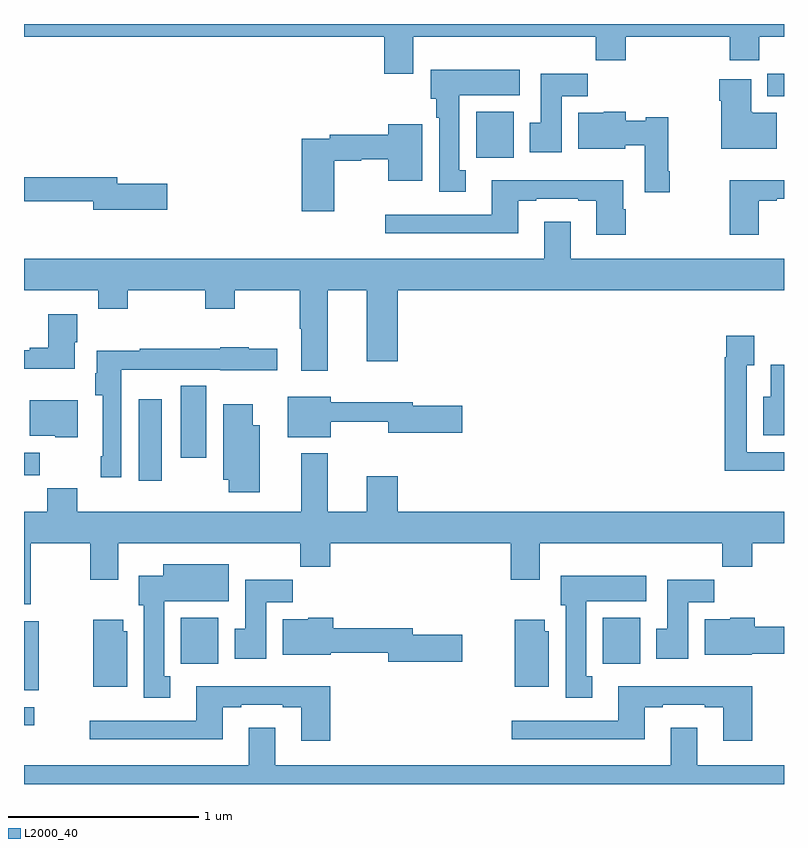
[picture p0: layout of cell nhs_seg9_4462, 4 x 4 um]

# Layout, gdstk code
import gdstk
lib = gdstk.Library(unit=1e-6, precision=1e-09)
def R(c, l, rs):  # rectangles x0, y0, x1, y1
    for r in rs: c.add(gdstk.rectangle(r[:2], r[2:], *l))
def P(c, l, *ps):  # polygons
    for p in ps: c.add(gdstk.Polygon(p, *l))
L2000_40 = (2000, 40)

nhs_seg9_4462 = lib.new_cell('nhs_seg9_4462')
R(nhs_seg9_4462, L2000_40, [(367,1180.809,367.054,1180.905), (367,1180.994,367.078,1181.356), (367.826,1181.132,368.023,1181.374), (370.046,1181.132,370.243,1181.374), (367.604,1182.096,367.726,1182.526), (367,1182.126,367.082,1182.244), (367.826,1182.216,367.96,1182.596), (369.38,1183.796,369.577,1184.038), (370.913,1184.12,371,1184.238)])
P(nhs_seg9_4462, L2000_40, [(369.049,1184.432),(370.009,1184.432),(370.009,1184.308),(370.166,1184.308),(370.166,1184.432),(370.715,1184.432),(370.715,1184.308),(370.871,1184.308),(370.871,1184.432),(371,1184.432),(371,1184.5),(367,1184.5),(367,1184.432),(368.897,1184.432),(368.897,1184.238),(369.049,1184.238)],
  [(369.325,1183.73),(369.292,1183.73),(369.292,1184.126),(369.61,1184.126),(369.61,1184.26),(369.14,1184.26),(369.14,1184.106),(369.17,1184.106),(369.17,1184.006),(369.185,1184.006),(369.185,1183.617),(369.325,1183.617)],
  [(369.829,1184.12),(369.968,1184.12),(369.968,1184.239),(369.719,1184.239),(369.719,1183.98),(369.662,1183.98),(369.662,1183.824),(369.829,1183.824)],
  [(370.963,1184.032),(370.834,1184.032),(370.834,1184.038),(370.828,1184.038),(370.828,1184.209),(370.658,1184.209),(370.658,1184.096),(370.67,1184.096),(370.67,1183.844),(370.963,1183.844)],
  [(370.398,1183.726),(370.39,1183.726),(370.39,1184.01),(370.272,1184.01),(370.272,1183.992),(370.168,1183.992),(370.168,1184.038),(370.05,1184.038),(370.05,1184.032),(369.917,1184.032),(369.917,1183.844),(370.164,1183.844),(370.164,1183.862),(370.268,1183.862),(370.268,1183.614),(370.398,1183.614)],
  [(368.632,1183.78),(368.775,1183.78),(368.775,1183.788),(368.918,1183.788),(368.918,1183.676),(369.097,1183.676),(369.097,1183.972),(368.918,1183.972),(368.918,1183.916),(368.608,1183.916),(368.608,1183.896),(368.462,1183.896),(368.462,1183.515),(368.632,1183.515)],
  [(367.753,1183.658),(367.492,1183.658),(367.492,1183.694),(367,1183.694),(367,1183.566),(367.364,1183.566),(367.364,1183.523),(367.753,1183.523)],
  [(370.867,1183.569),(370.963,1183.569),(370.963,1183.581),(371,1183.581),(371,1183.678),(370.715,1183.678),(370.715,1183.392),(370.867,1183.392)],
  [(370.166,1183.526),(370.153,1183.526),(370.153,1183.678),(369.461,1183.678),(369.461,1183.497),(368.901,1183.497),(368.901,1183.4),(369.601,1183.4),(369.601,1183.569),(369.697,1183.569),(369.697,1183.581),(369.917,1183.581),(369.917,1183.569),(370.013,1183.569),(370.013,1183.392),(370.166,1183.392)],
  [(368.599,1183.1),(368.804,1183.1),(368.804,1182.726),(368.968,1182.726),(368.968,1183.1),(371,1183.1),(371,1183.264),(369.877,1183.264),(369.877,1183.459),(369.737,1183.459),(369.737,1183.264),(367,1183.264),(367,1183.1),(367.39,1183.1),(367.39,1183.001),(367.545,1183.001),(367.545,1183.1),(367.954,1183.1),(367.954,1183.001),(368.109,1183.001),(368.109,1183.1),(368.452,1183.1),(368.452,1182.896),(368.459,1182.896),(368.459,1182.675),(368.599,1182.675)],
  [(367.267,1182.825),(367.28,1182.825),(367.28,1182.973),(367.127,1182.973),(367.127,1182.796),(367.031,1182.796),(367.031,1182.783),(367,1182.783),(367,1182.686),(367.267,1182.686)],
  [(370.979,1182.15),(371,1182.15),(371,1182.246),(370.803,1182.246),(370.803,1182.703),(370.843,1182.703),(370.843,1182.859),(370.695,1182.859),(370.695,1182.746),(370.687,1182.746),(370.687,1182.149),(370.979,1182.149)],
  [(367.512,1182.68),(367.722,1182.68),(367.722,1182.681),(368.034,1182.681),(368.034,1182.677),(368.332,1182.677),(368.332,1182.79),(368.184,1182.79),(368.184,1182.799),(368.034,1182.799),(368.034,1182.79),(367.609,1182.79),(367.609,1182.78),(367.382,1182.78),(367.382,1182.662),(367.375,1182.662),(367.375,1182.545),(367.415,1182.545),(367.415,1182.226),(367.404,1182.226),(367.404,1182.114),(367.512,1182.114)],
  [(371,1182.706),(370.931,1182.706),(370.931,1182.538),(370.892,1182.538),(370.892,1182.335),(371,1182.335)],
  [(368.614,1182.406),(368.918,1182.406),(368.918,1182.349),(369.307,1182.349),(369.307,1182.491),(369.046,1182.491),(369.046,1182.509),(368.614,1182.509),(368.614,1182.538),(368.387,1182.538),(368.387,1182.326),(368.614,1182.326)],
  [(367.282,1182.52),(367.031,1182.52),(367.031,1182.332),(367.164,1182.332),(367.164,1182.326),(367.282,1182.326)],
  [(368.242,1182.388),(368.203,1182.388),(368.203,1182.499),(368.048,1182.499),(368.048,1182.101),(368.077,1182.101),(368.077,1182.036),(368.242,1182.036)],
  [(367.036,1181.768),(367.348,1181.768),(367.348,1181.574),(367.495,1181.574),(367.495,1181.768),(368.455,1181.768),(368.455,1181.644),(368.612,1181.644),(368.612,1181.768),(369.563,1181.768),(369.563,1181.574),(369.715,1181.574),(369.715,1181.768),(370.675,1181.768),(370.675,1181.644),(370.832,1181.644),(370.832,1181.768),(371,1181.768),(371,1181.932),(368.968,1181.932),(368.968,1182.121),(368.804,1182.121),(368.804,1181.932),(368.599,1181.932),(368.599,1182.241),(368.459,1182.241),(368.459,1181.932),(367.28,1181.932),(367.28,1182.056),(367.123,1182.056),(367.123,1181.932),(367,1181.932),(367,1181.445),(367.036,1181.445)],
  [(367.771,1181.066),(367.738,1181.066),(367.738,1181.462),(368.077,1181.462),(368.077,1181.656),(367.733,1181.656),(367.733,1181.596),(367.604,1181.596),(367.604,1181.442),(367.631,1181.442),(367.631,1180.953),(367.771,1180.953)],
  [(369.991,1181.066),(369.958,1181.066),(369.958,1181.462),(370.276,1181.462),(370.276,1181.596),(369.824,1181.596),(369.824,1181.442),(369.851,1181.442),(369.851,1180.953),(369.991,1180.953)],
  [(370.495,1181.456),(370.634,1181.456),(370.634,1181.575),(370.385,1181.575),(370.385,1181.316),(370.328,1181.316),(370.328,1181.16),(370.495,1181.16)],
  [(368.275,1181.456),(368.414,1181.456),(368.414,1181.574),(368.165,1181.574),(368.165,1181.316),(368.108,1181.316),(368.108,1181.16),(368.275,1181.16)],
  [(369.307,1181.286),(369.046,1181.286),(369.046,1181.32),(368.627,1181.32),(368.627,1181.374),(368.496,1181.374),(368.496,1181.368),(368.363,1181.368),(368.363,1181.18),(368.614,1181.18),(368.614,1181.191),(368.918,1181.191),(368.918,1181.144),(369.307,1181.144)],
  [(370.83,1181.186),(371,1181.186),(371,1181.328),(370.847,1181.328),(370.847,1181.374),(370.716,1181.374),(370.716,1181.368),(370.583,1181.368),(370.583,1181.18),(370.83,1181.18)],
  [(369.763,1181.304),(369.742,1181.304),(369.742,1181.365),(369.584,1181.365),(369.584,1181.012),(369.763,1181.012)],
  [(367.543,1181.304),(367.522,1181.304),(367.522,1181.365),(367.364,1181.365),(367.364,1181.012),(367.543,1181.012)],
  [(368.612,1181.014),(367.907,1181.014),(367.907,1180.833),(367.347,1180.833),(367.347,1180.736),(368.047,1180.736),(368.047,1180.905),(368.143,1180.905),(368.143,1180.917),(368.363,1180.917),(368.363,1180.905),(368.459,1180.905),(368.459,1180.728),(368.612,1180.728)],
  [(370.832,1181.014),(370.127,1181.014),(370.127,1180.833),(369.567,1180.833),(369.567,1180.736),(370.267,1180.736),(370.267,1180.905),(370.363,1180.905),(370.363,1180.917),(370.583,1180.917),(370.583,1180.905),(370.679,1180.905),(370.679,1180.728),(370.832,1180.728)],
  [(371,1180.6),(370.543,1180.6),(370.543,1180.795),(370.403,1180.795),(370.403,1180.6),(368.323,1180.6),(368.323,1180.795),(368.183,1180.795),(368.183,1180.6),(367,1180.6),(367,1180.5),(371,1180.5)])

lib.write_gds('nhs_seg9_4462.gds')
